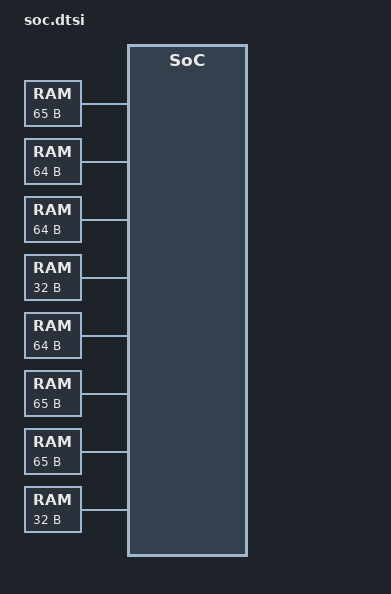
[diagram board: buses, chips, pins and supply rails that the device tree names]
/* Copyright 2026 The ChromiumOS Authors.
 * Use of this source code is governed by a BSD-style license that can be
 * found in the LICENSE file.
 */

#include <cros/elan/em32f967.dtsi>

/*
 * Use 271kB of RAM. Some of it is reserved for hw accelarator which is not used.
 * Make also 512b space for SDCP.
 */
&sram0 {
	/* Round down to kB, because the SRAM_SIZE config uses kB as SRAM
	 * size
	 */
	reg = <0x20000000 DT_SIZE_K(271)>;
};

/ {
	sdcp_pk_m: memory@20043e14 {
		compatible = "mmio-sram";
		reg = <0x20043e14 65>;
	};

	sdcp_s_goog: memory@20043e55 {
		compatible = "mmio-sram";
		reg = <0x20043e55 64>;
	};

	sdcp_s_m: memory@20043e95 {
		compatible = "mmio-sram";
		reg = <0x20043e95 64>;
	};

	sdcp_h_f: memory@20043ed5 {
		compatible = "mmio-sram";
		reg = <0x20043ed5 32>;
	};

	sdcp_s_d: memory@20043ef5 {
		compatible = "mmio-sram";
		reg = <0x20043ef5 64>;
	};

	sdcp_pk_d: memory@20043f35 {
		compatible = "mmio-sram";
		reg = <0x20043f35 65>;
	};

	sdcp_pk_f: memory@20043f76 {
		compatible = "mmio-sram";
		reg = <0x20043f76 65>;
	};

	sdcp_sk_f: memory@20043fb7 {
		compatible = "mmio-sram";
		reg = <0x20043fb7 32>;
	};
};
